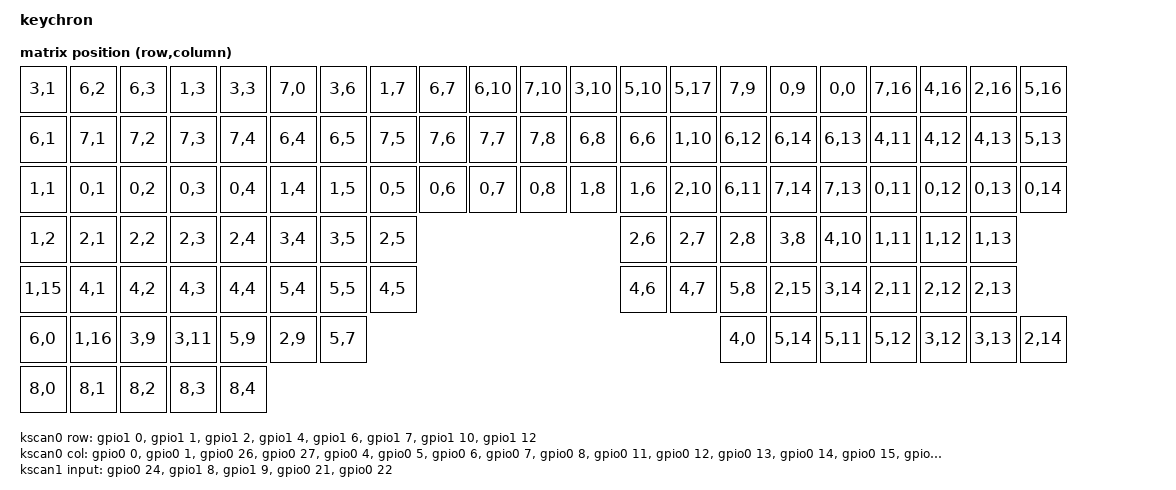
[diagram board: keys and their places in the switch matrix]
/*
 * Copyright (c) 2021 Nick Winans
 *
 * SPDX-License-Identifier: MIT
 */

/dts-v1/;
#include <nordic/nrf52840_qiaa.dtsi>

#include <dt-bindings/led/led.h>
#include <dt-bindings/zmk/matrix_transform.h>


/ {
    model = "keychron";
    compatible = "keychron";

    chosen {
        zephyr,code-partition = &code_partition;
        zephyr,sram = &sram0;
        zephyr,flash = &flash0;
        zephyr,console = &uart0; //&cdc_acm_uart;
        zmk,battery = &vbatt;
        zmk,kscan = &kscan_comp;//&kscan0;
        zmk,matrix_transform = &default_transform;
    };

    default_transform: keymap_transform_0 {
        compatible = "zmk,matrix-transform";
        columns = <18>;
        rows = <8>;
        map = <
            //esc        //f1        //f2       //f3          //f4       //f5     //f6            //f7        //f8        //f9      //f10     //f11          //f12      //f13        //print     //scr       //pause
            RC(3,1)     RC(6,2)     RC(6,3)     RC(1,3)     RC(3,3)     RC(7,0)     RC(3,6)     RC(1,7)     RC(6,7)     RC(6,10)    RC(7,10)    RC(3,10)    RC(5,10)    RC(5,17)     RC(7,9)     RC(0,9)     RC(0,0)     RC(7,16)    RC(4,16)    RC(2,16)    RC(5,16)
             //grave      //1      //2            //3      //4            //5        //6         //7       //8            //9       //0        //-           //+=       //back       //ins       //home      //pg up     //num       // /        //*         // -
            RC(6,1)     RC(7,1)     RC(7,2)     RC(7,3)    RC(7,4)     RC(6,4)     RC(6,5)     RC(7,5)     RC(7,6)      RC(7,7)     RC(7,8)     RC(6,8)     RC(6,6)     RC(1,10)    RC(6,12)    RC(6,14)    RC(6,13)    RC(4,11)     RC(4,12)    RC(4,13)    RC(5,13)
            //tab        //q         //w        //e         //r         // t         //y        //u         //i          //o         //p         //[         //]         //\          //del        //end     //pg dn     //kp 7       //kp8      //kp 9       //kp +
            RC(1,1)     RC(0,1)     RC(0,2)     RC(0,3)    RC(0,4)      RC(1,4)     RC(1,5)     RC(0,5)     RC(0,6)     RC(0,7)     RC(0,8)     RC(1,8)     RC(1,6)     RC(2,10)    RC(6,11)    RC(7,14)    RC(7,13)    RC(0,11)    RC(0,12)     RC(0,13)   RC(0,14)
            //cap        //a         //s         //d        //f            //g      //h          //j        //k             //l      // ;        //' "                    //enter                                         //4        //5          //6
            RC(1,2)     RC(2,1)     RC(2,2)     RC(2,3)     RC(2,4)     RC(3,4)     RC(3,5)     RC(2,5)     RC(2,6)     RC(2,7)     RC(2,8)     RC(3,8)                 RC(4,10)                                         RC(1,11)    RC(1,12)     RC(1,13)   
             //lshit                 //z         //x         //c          //v         //b        //n         //m        //,<         //.>        //?/                    //rshit                  //up                   //1            //2         //3
            RC(1,15)                RC(4,1)     RC(4,2)     RC(4,3)     RC(4,4)     RC(5,4)     RC(5,5)     RC(4,5)     RC(4,6)     RC(4,7)     RC(5,8)                 RC(2,15)                RC(3,14)                RC(2,11)    RC(2,12)    RC(2,13)
            //lctrl     //win l      //alt l                                         //space                             //alt r    //win r                 //fn         //ctrl r     //left     //down      //right     //0                     //dot       //kp enter
            RC(6,0)     RC(1,16)    RC(3,9)                                         RC(3,11)                            RC(5,9)     RC(2,9)                RC(5,7)     RC(4,0)     RC(5,14)    RC(5,11)    RC(5,12)    RC(3,12)                RC(3,13)    RC(2,14)
            //m/w        //bt        //24g       //ch        //ch done   
            RC(8,0)     RC(8,1)     RC(8,2)     RC(8,3)     RC(8,4)
        >;
    };


    kscan0: kscan_matrix {
        compatible = "zmk,kscan-gpio-matrix";
        //label = "KSCAN";
        diode-direction = "col2row";
        debounce-scan-period-ms =<4>;
        debounce-press-ms =<8>;
        debounce-release-ms=<8>;
 
        row-gpios
            = <&gpio1 0 (GPIO_ACTIVE_HIGH | GPIO_PULL_DOWN)>    //r0
            , <&gpio1 1 (GPIO_ACTIVE_HIGH | GPIO_PULL_DOWN)>    //r1
            , <&gpio1 2 (GPIO_ACTIVE_HIGH | GPIO_PULL_DOWN)>    //r2
            , <&gpio1 4 (GPIO_ACTIVE_HIGH | GPIO_PULL_DOWN)>    //r3
            , <&gpio1 6 (GPIO_ACTIVE_HIGH | GPIO_PULL_DOWN)>    //r4
            , <&gpio1 7 (GPIO_ACTIVE_HIGH | GPIO_PULL_DOWN)>    //r5
            , <&gpio1 10 (GPIO_ACTIVE_HIGH | GPIO_PULL_DOWN)>   //r6
            , <&gpio1 12 (GPIO_ACTIVE_HIGH | GPIO_PULL_DOWN)>   //r7
            ;
        col-gpios
            = <&gpio0 0 (GPIO_ACTIVE_HIGH )>   //c0
            , <&gpio0 1 (GPIO_ACTIVE_HIGH)>   //c1
            , <&gpio0 26 (GPIO_ACTIVE_HIGH)>  //c2
            , <&gpio0 27 (GPIO_ACTIVE_HIGH)>  //c3    
            , <&gpio0 4 (GPIO_ACTIVE_HIGH)>   //c4
            , <&gpio0 5  (GPIO_ACTIVE_HIGH)>  //c5
            , <&gpio0 6  (GPIO_ACTIVE_HIGH)>  //c6
            , <&gpio0 7  (GPIO_ACTIVE_HIGH)>  //c7
            , <&gpio0 8  (GPIO_ACTIVE_HIGH)>  //c8
            , <&gpio0 11  (GPIO_ACTIVE_HIGH)> //c9
            , <&gpio0 12  (GPIO_ACTIVE_HIGH)> //c10
            , <&gpio0 13  (GPIO_ACTIVE_HIGH)> //c11
            , <&gpio0 14  (GPIO_ACTIVE_HIGH)> //c12
            , <&gpio0 15  (GPIO_ACTIVE_HIGH)> //c13
            , <&gpio0 16  (GPIO_ACTIVE_HIGH)> //c14
            , <&gpio0 17  (GPIO_ACTIVE_HIGH)> //c15
            , <&gpio0 18  (GPIO_ACTIVE_HIGH)> //c16
            , <&gpio0 20  (GPIO_ACTIVE_HIGH)> //c17
            ;

    };

    kscan1:kscan_direct {
        compatible = "zmk,kscan-gpio-direct";
        //label = "CONTROL";
        input-gpios
        = <&gpio0 24 GPIO_ACTIVE_LOW> //mac/win
        , <&gpio1 8  (GPIO_ACTIVE_LOW)> //bt
        , <&gpio1 9  (GPIO_ACTIVE_LOW)> //24g
        , <&gpio0 21 GPIO_ACTIVE_LOW> //charging
        , <&gpio0 22 GPIO_ACTIVE_LOW> //charge done
        ;
    };

    kscan_comp: kscan {
        compatible = "zmk,kscan-composite";
        label = "KSCAN_ALL";
        rows = <9>;
        columns = <18>;

        // Include the matrix driver
        matrix {
            kscan = <&kscan0>;
        };

        // Include the direct GPIO driver...
        direct {
            kscan = <&kscan1>;
            row-offset = <8>; // ...and shift it to not overlap
        };
    };



    ext-power {
        compatible = "zmk,ext-power-generic";
        status ="disabled";
        label = "EXT_POWER";
        control-gpios = <&gpio0 5 GPIO_ACTIVE_LOW>;
    };

    vbatt: vbatt {
        compatible = "zmk,battery-voltage-divider";
        //label = "BATTERY";
        io-channels = <&adc 7>;
        output-ohms = <510000>;
        full-ohms = <(510000 + 510000)>;
    };

    led_blue {
        compatible = "gpio-leds";
        label = "LED_BLUE";
        blue_led: led_01 {
            gpios = <&gpio1 14 GPIO_ACTIVE_LOW>;
           
        };
    };
    led_numlock {
        compatible = "gpio-leds";
        label = "LED_NumLock";
        status = "okay";
        numlock_led: led_02 {
                gpios = <&gpio0 9 GPIO_ACTIVE_LOW>;

        };
    };
    led_CAPS {
        compatible = "gpio-leds";
        label = "LED_CAPS";
        status = "okay";
        caps_led: led_03 {
                gpios = <&gpio0 10 GPIO_ACTIVE_LOW>;

        };
    };
    led_24G {
        compatible = "gpio-leds";
        label = "LED_24G";
        status = "okay";
        led_24g: led_04 {
                gpios = <&gpio0 3 GPIO_ACTIVE_LOW>;

        };
    };
    led_rgb {
        compatible = "gpio-leds";
        label = "LED_RGB";
        status = "okay";

        myled_r: led_r {
                gpios = <&gpio0 28 GPIO_ACTIVE_LOW>;
                label = "led_r";
        };
        myled_g: led_g {
                gpios = <&gpio0 30 GPIO_ACTIVE_LOW>;
                label = "led_g";
        };
        myled_b: led_b {
                gpios = <&gpio0 29 GPIO_ACTIVE_LOW>;
                label = "led_b";
        };
    };
};

&adc {
    status = "okay";
};

&gpiote {
    status = "okay";
};

&gpio0 {
    status = "okay";
};

&gpio1 {
    status = "okay";
};

&pinctrl {
    i2c0_default:i2c0_default{
        group1 {
            psels = <NRF_PSEL(TWIM_SDA, 0, 26)>,
                <NRF_PSEL(TWIM_SCL, 0, 27)>;
        };
    };
    i2c0_sleep:i2c0_sleep {
        group1 {
            psels = <NRF_PSEL(TWIM_SDA, 0, 26)>,
                <NRF_PSEL(TWIM_SCL, 0, 27)>;
            low-power-enable;
        };
    };

    uart0_default:uart0_default {
        group1 {
            psels = <NRF_PSEL(UART_TX, 1, 13)>;
            low-power-enable;
        };

        group2 {
            psels = <NRF_PSEL(UART_RX, 1, 15)>;
            low-power-enable;
        };
    };
    uart0_sleep:uart0_sleep {
        group1 {
            psels = <NRF_PSEL(UART_TX, 1, 13)>;
            low-power-enable;
        };

        group2 {
            psels = <NRF_PSEL(UART_RX, 1, 15)>;
            low-power-enable;
        };
    };

};






&usbd {
    status = "okay";
    //cdc_acm_uart: cdc_acm_uart {
    //   compatible = "zephyr,cdc-acm-uart";
    //    label = "CDC_ACM_0";
    //};
};


&uart0 {
    compatible = "nordic,nrf-uarte";
    status = "disabled";//"okay";//
    current-speed = <1000000>;
    pinctrl-0 = <&uart0_default>;
    pinctrl-1 = <&uart0_sleep>;
    pinctrl-names = "default", "sleep";
};


&flash0 {
    /*
     * For more information, see:
     * http://docs.zephyrproject.org/latest/devices/dts/flash_partitions.html
     */
    partitions {
        compatible = "fixed-partitions";
        #address-cells = <1>;
        #size-cells = <1>;

        sd_partition: partition@0 {
            label = "mbr";
            reg = <0x00000000 0x00001000>;
        };

        code_partition: partition@1000 {
            label = "code_partition";
            reg = <0x00001000 0x000d3000>;
        };

        /*
         * The flash starting at 0x000d4000 and ending at
         * 0x000f3fff is reserved for use by the application.
         */

        /*
         * Storage partition will be used by FCB/LittleFS/NVS
         * if enabled.
         */
        storage_partition: partition@d4000 {
            label = "storage";
            reg = <0x000d4000 0x00020000>;
        };

        boot_partition: partition@f4000 {
            label = "adafruit_boot";
            reg = <0x000f4000 0x0000c000>;
        };
    };
};
#include <behaviors.dtsi>
&mt {
    tapping-term-ms = <400>;
};
